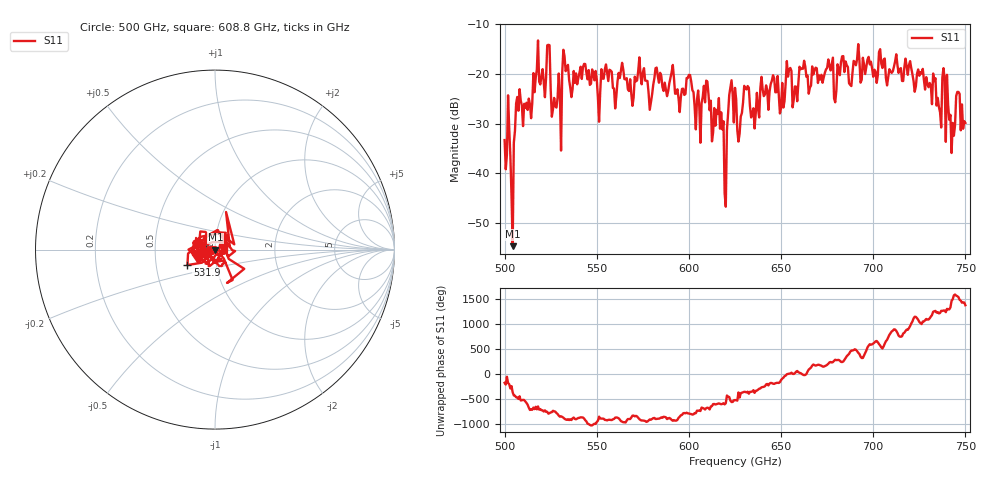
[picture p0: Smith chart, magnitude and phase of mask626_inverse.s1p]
!Created with skrf (http://scikit-rf.org).
# GHz S MA R 50.0
!freq magS11 angS11
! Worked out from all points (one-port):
!   401 points, 500 GHz to 750 GHz, reference 50 ohm
!   lowest |S11| = -54.6 dB at 504.4 GHz (marker M1), VSWR 1.00, Z = 50.2 - j0.0141 ohm
!   |S11| at or under -10 dB: start of sweep to end of sweep
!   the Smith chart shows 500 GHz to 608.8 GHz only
!   S11 on the Smith chart (normalised r, x): 500 GHz: 0.96, -0.00; 531.9 GHz: 0.72, -0.13; 608.8 GHz: 1.11, +0.02
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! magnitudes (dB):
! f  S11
! 500 GHz  -33.3
! 504.4 GHz  -54.6
! 507.5 GHz  -27.4
! 513.8 GHz  -26.1
! 516.9 GHz  -20.7
! 523.8 GHz  -14.1
! 526.9 GHz  -24.8
! 531.2 GHz  -19.8
! 531.9 GHz  -15.1
! 562.5 GHz  -20.8
! 579.4 GHz  -25.6
! 590.6 GHz  -19.6
! 593.8 GHz  -23.0
! 600 GHz  -20.1
! 605 GHz  -23.3
! 608.8 GHz  -25.7
! 617.5 GHz  -27.7
! 619.4 GHz  -44.0
! 622.5 GHz  -22.6
! 625 GHz  -22.8
! 627.5 GHz  -32.0
! 631.2 GHz  -23.1
! 635 GHz  -26.9
! 645 GHz  -21.3
! 656.2 GHz  -26.7
! 687.5 GHz  -22.2
! 718.8 GHz  -20.1
! 750 GHz  -29.8
